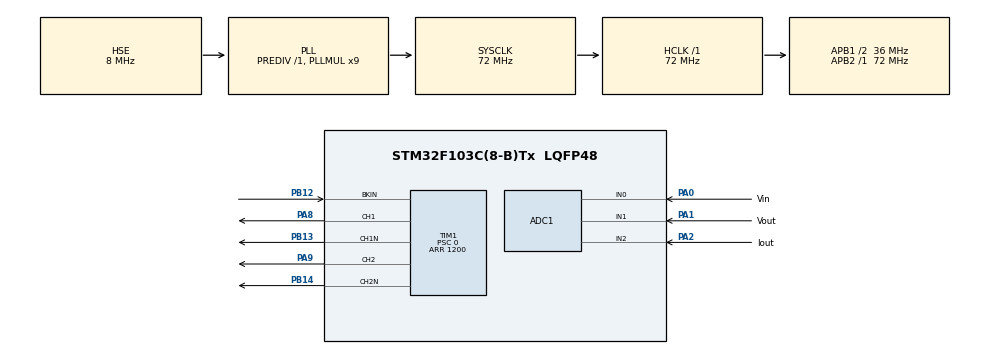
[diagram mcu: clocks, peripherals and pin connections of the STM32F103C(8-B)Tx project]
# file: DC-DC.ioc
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ADC1.Channel-0\#ChannelRegularConversion=ADC_CHANNEL_0
ADC1.NbrOfConversionFlag=1
ADC1.Rank-0\#ChannelRegularConversion=1
ADC1.SamplingTime-0\#ChannelRegularConversion=ADC_SAMPLETIME_1CYCLE_5
ADC1.master=1
Mcu.Family=STM32F1
Mcu.Name=STM32F103C(8-B)Tx
Mcu.Package=LQFP48
NVIC.PriorityGroup=NVIC_PRIORITYGROUP_4
PA0-WKUP.GPIO_Label=Vin
PA0-WKUP.Signal=ADCx_IN0
PA1.GPIO_Label=Vout
PA1.Signal=ADCx_IN1
PA13.Mode=Serial_Wire
PA13.Signal=SYS_JTMS-SWDIO
PA14.Mode=Serial_Wire
PA14.Signal=SYS_JTCK-SWCLK
PA2.GPIO_Label=Iout
PA2.Signal=ADCx_IN2
PA8.Signal=S_TIM1_CH1
PA9.Signal=S_TIM1_CH2
PB12.Mode=Activate-Break-Input
PB12.Signal=TIM1_BKIN
PB13.Mode=PWM Generation1 CH1 CH1N
PB13.Signal=TIM1_CH1N
PB14.Mode=PWM Generation2 CH2 CH2N
PB14.Signal=TIM1_CH2N
PD0-OSC_IN.Mode=HSE-External-Oscillator
PD0-OSC_IN.Signal=RCC_OSC_IN
PD1-OSC_OUT.Mode=HSE-External-Oscillator
PD1-OSC_OUT.Signal=RCC_OSC_OUT
ProjectManager.HeapSize=0x200
ProjectManager.StackSize=0x400
ProjectManager.TargetToolchain=STM32CubeIDE
RCC.ADCPresc=RCC_ADCPCLK2_DIV6
RCC.AHBFreq_Value=72000000
RCC.APB1CLKDivider=RCC_HCLK_DIV2
RCC.APB1Freq_Value=36000000
RCC.APB1TimFreq_Value=72000000
RCC.APB2Freq_Value=72000000
RCC.APB2TimFreq_Value=72000000
RCC.HCLKFreq_Value=72000000
RCC.PLLMUL=RCC_PLL_MUL9
RCC.PLLSourceVirtual=RCC_PLLSOURCE_HSE
RCC.SYSCLKFreq_VALUE=72000000
RCC.SYSCLKSource=RCC_SYSCLKSOURCE_PLLCLK
RCC.USBFreq_Value=72000000
SH.ADCx_IN0.0=ADC1_IN0,IN0
SH.ADCx_IN1.0=ADC1_IN1,IN1
SH.ADCx_IN2.0=ADC1_IN2,IN2
SH.S_TIM1_CH1.0=TIM1_CH1,PWM Generation1 CH1 CH1N
SH.S_TIM1_CH2.0=TIM1_CH2,PWM Generation2 CH2 CH2N
TIM1.AutoReloadPreload=TIM_AUTORELOAD_PRELOAD_ENABLE
TIM1.BreakState=TIM_BREAK_DISABLE
TIM1.Channel-PWM\ Generation1\ CH1\ CH1N=TIM_CHANNEL_1
TIM1.Channel-PWM\ Generation2\ CH2\ CH2N=TIM_CHANNEL_2
TIM1.CounterMode=TIM_COUNTERMODE_CENTERALIGNED1
TIM1.DeadTime=30
TIM1.OC2Preload_PWM=ENABLE
TIM1.OCIdleState_2=TIM_OCIDLESTATE_RESET
TIM1.OCMode_PWM-PWM\ Generation1\ CH1\ CH1N=TIM_OCMODE_PWM1
TIM1.OCMode_PWM-PWM\ Generation2\ CH2\ CH2N=TIM_OCMODE_PWM1
TIM1.OCNPolarity_1=TIM_OCNPOLARITY_HIGH
TIM1.OCNPolarity_2=TIM_OCNPOLARITY_HIGH
TIM1.OCPolarity_1=TIM_OCPOLARITY_HIGH
TIM1.OCPolarity_2=TIM_OCPOLARITY_HIGH
TIM1.Period=1200
TIM1.Prescaler=0
TIM1.Pulse-PWM\ Generation1\ CH1\ CH1N=1100
TIM1.Pulse-PWM\ Generation2\ CH2\ CH2N=100
TIM1.TIM_MasterOutputTrigger=TIM_TRGO_RESET
VP_TIM1_VS_ClockSourceINT.Mode=Internal
board=custom

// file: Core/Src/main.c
/* USER CODE BEGIN Header */
/**
  ******************************************************************************
  * @file           : main.c
  * @brief          : Main program body
  ******************************************************************************
  * @attention
  *
  * Copyright (c) 2024 STMicroelectronics.
  * All rights reserved.
  *
  * This software is licensed under terms that can be found in the LICENSE file
  * in the root directory of this software component.
  * If no LICENSE file comes with this software, it is provided AS-IS.
  *
  ******************************************************************************
  */
/* USER CODE END Header */
#include "main.h"

/* USER CODE BEGIN PM */
void duty_update (float duty);

/* USER CODE END PM */

ADC_HandleTypeDef hadc1;

TIM_HandleTypeDef htim1;

/* USER CODE BEGIN PV */
float duty=20,i=0;
/* USER CODE END PV */

void SystemClock_Config(void);
static void MX_GPIO_Init(void);
static void MX_TIM1_Init(void);
static void MX_ADC1_Init(void);

int main(void)
{

  /* MCU Configuration--------------------------------------------------------*/

  /* Reset of all peripherals, Initializes the Flash interface and the Systick. */
  HAL_Init();

  /* Configure the system clock */
  SystemClock_Config();

  /* Initialize all configured peripherals */
  MX_GPIO_Init();
  MX_TIM1_Init();
  MX_ADC1_Init();
  /* USER CODE BEGIN 2 */
  HAL_TIM_PWM_Start(&htim1, TIM_CHANNEL_1);
  HAL_TIMEx_PWMN_Start(&htim1, TIM_CHANNEL_1);
  HAL_TIM_PWM_Start(&htim1, TIM_CHANNEL_2);
  HAL_TIMEx_PWMN_Start(&htim1, TIM_CHANNEL_2);

  /* USER CODE END 2 */

  /* Infinite loop */
  /* USER CODE BEGIN WHILE */
  while (1)
  {
	  for(i=5.3;i<25;i=i+0.1)
	  {
		  duty_update(i);
		  HAL_Delay(5);
	  }

    /* USER CODE END WHILE */

  }
}

void SystemClock_Config(void)
{
  RCC_OscInitTypeDef RCC_OscInitStruct = {0};
  RCC_ClkInitTypeDef RCC_ClkInitStruct = {0};
  RCC_PeriphCLKInitTypeDef PeriphClkInit = {0};

  /** Initializes the RCC Oscillators according to the specified parameters
  * in the RCC_OscInitTypeDef structure.
  */
  RCC_OscInitStruct.OscillatorType = RCC_OSCILLATORTYPE_HSE;
  RCC_OscInitStruct.HSEState = RCC_HSE_ON;
  RCC_OscInitStruct.HSEPredivValue = RCC_HSE_PREDIV_DIV1;
  RCC_OscInitStruct.HSIState = RCC_HSI_ON;
  RCC_OscInitStruct.PLL.PLLState = RCC_PLL_ON;
  RCC_OscInitStruct.PLL.PLLSource = RCC_PLLSOURCE_HSE;
  RCC_OscInitStruct.PLL.PLLMUL = RCC_PLL_MUL9;
  if (HAL_RCC_OscConfig(&RCC_OscInitStruct) != HAL_OK)
  {
    Error_Handler();
  }

  /** Initializes the CPU, AHB and APB buses clocks
  */
  RCC_ClkInitStruct.ClockType = RCC_CLOCKTYPE_HCLK|RCC_CLOCKTYPE_SYSCLK
                              |RCC_CLOCKTYPE_PCLK1|RCC_CLOCKTYPE_PCLK2;
  RCC_ClkInitStruct.SYSCLKSource = RCC_SYSCLKSOURCE_PLLCLK;
  RCC_ClkInitStruct.AHBCLKDivider = RCC_SYSCLK_DIV1;
  RCC_ClkInitStruct.APB1CLKDivider = RCC_HCLK_DIV2;
  RCC_ClkInitStruct.APB2CLKDivider = RCC_HCLK_DIV1;

  if (HAL_RCC_ClockConfig(&RCC_ClkInitStruct, FLASH_LATENCY_2) != HAL_OK)
  {
    Error_Handler();
  }
  PeriphClkInit.PeriphClockSelection = RCC_PERIPHCLK_ADC;
  PeriphClkInit.AdcClockSelection = RCC_ADCPCLK2_DIV6;
  if (HAL_RCCEx_PeriphCLKConfig(&PeriphClkInit) != HAL_OK)
  {
    Error_Handler();
  }
}

static void MX_ADC1_Init(void)
{

  ADC_ChannelConfTypeDef sConfig = {0};

  /** Common config
  */
  hadc1.Instance = ADC1;
  hadc1.Init.ScanConvMode = ADC_SCAN_DISABLE;
  hadc1.Init.ContinuousConvMode = DISABLE;
  hadc1.Init.DiscontinuousConvMode = DISABLE;
  hadc1.Init.ExternalTrigConv = ADC_SOFTWARE_START;
  hadc1.Init.DataAlign = ADC_DATAALIGN_RIGHT;
  hadc1.Init.NbrOfConversion = 1;
  if (HAL_ADC_Init(&hadc1) != HAL_OK)
  {
    Error_Handler();
  }

  /** Configure Regular Channel
  */
  sConfig.Channel = ADC_CHANNEL_0;
  sConfig.Rank = ADC_REGULAR_RANK_1;
  sConfig.SamplingTime = ADC_SAMPLETIME_1CYCLE_5;
  if (HAL_ADC_ConfigChannel(&hadc1, &sConfig) != HAL_OK)
  {
    Error_Handler();
  }

}

static void MX_TIM1_Init(void)
{

  TIM_ClockConfigTypeDef sClockSourceConfig = {0};
  TIM_MasterConfigTypeDef sMasterConfig = {0};
  TIM_OC_InitTypeDef sConfigOC = {0};
  TIM_BreakDeadTimeConfigTypeDef sBreakDeadTimeConfig = {0};

  htim1.Instance = TIM1;
  htim1.Init.Prescaler = 0;
  htim1.Init.CounterMode = TIM_COUNTERMODE_CENTERALIGNED1;
  htim1.Init.Period = 1200;
  htim1.Init.ClockDivision = TIM_CLOCKDIVISION_DIV1;
  htim1.Init.RepetitionCounter = 0;
  htim1.Init.AutoReloadPreload = TIM_AUTORELOAD_PRELOAD_ENABLE;
  if (HAL_TIM_Base_Init(&htim1) != HAL_OK)
  {
    Error_Handler();
  }
  sClockSourceConfig.ClockSource = TIM_CLOCKSOURCE_INTERNAL;
  if (HAL_TIM_ConfigClockSource(&htim1, &sClockSourceConfig) != HAL_OK)
  {
    Error_Handler();
  }
  if (HAL_TIM_PWM_Init(&htim1) != HAL_OK)
  {
    Error_Handler();
  }
  sMasterConfig.MasterOutputTrigger = TIM_TRGO_RESET;
  sMasterConfig.MasterSlaveMode = TIM_MASTERSLAVEMODE_DISABLE;
  if (HAL_TIMEx_MasterConfigSynchronization(&htim1, &sMasterConfig) != HAL_OK)
  {
    Error_Handler();
  }
  sConfigOC.OCMode = TIM_OCMODE_PWM1;
  sConfigOC.Pulse = 1100;
  sConfigOC.OCPolarity = TIM_OCPOLARITY_HIGH;
  sConfigOC.OCNPolarity = TIM_OCNPOLARITY_HIGH;
  sConfigOC.OCFastMode = TIM_OCFAST_DISABLE;
  sConfigOC.OCIdleState = TIM_OCIDLESTATE_RESET;
  sConfigOC.OCNIdleState = TIM_OCNIDLESTATE_RESET;
  if (HAL_TIM_PWM_ConfigChannel(&htim1, &sConfigOC, TIM_CHANNEL_1) != HAL_OK)
  {
    Error_Handler();
  }
  sConfigOC.Pulse = 100;
  if (HAL_TIM_PWM_ConfigChannel(&htim1, &sConfigOC, TIM_CHANNEL_2) != HAL_OK)
  {
    Error_Handler();
  }
  sBreakDeadTimeConfig.OffStateRunMode = TIM_OSSR_DISABLE;
  sBreakDeadTimeConfig.OffStateIDLEMode = TIM_OSSI_DISABLE;
  sBreakDeadTimeConfig.LockLevel = TIM_LOCKLEVEL_OFF;
  sBreakDeadTimeConfig.DeadTime = 30;
  sBreakDeadTimeConfig.BreakState = TIM_BREAK_DISABLE;
  sBreakDeadTimeConfig.BreakPolarity = TIM_BREAKPOLARITY_HIGH;
  sBreakDeadTimeConfig.AutomaticOutput = TIM_AUTOMATICOUTPUT_DISABLE;
  if (HAL_TIMEx_ConfigBreakDeadTime(&htim1, &sBreakDeadTimeConfig) != HAL_OK)
  {
    Error_Handler();
  }
  HAL_TIM_MspPostInit(&htim1);

}

static void MX_GPIO_Init(void)
{

  /* GPIO Ports Clock Enable */
  __HAL_RCC_GPIOD_CLK_ENABLE();
  __HAL_RCC_GPIOA_CLK_ENABLE();
  __HAL_RCC_GPIOB_CLK_ENABLE();

}

/* USER CODE BEGIN 4 */
 void duty_update (float duty)
 {
	 if(duty>25)
	 {
		duty=25;
	 }
	 if(duty<5.3)
	 {
		duty=5.3;
	 }
	 uint16_t max_duty = htim1.Init.Period;
	 float k =(duty/100) * max_duty;
	 uint16_t n = (uint16_t) k;

	 TIM1->CCR1 = max_duty - n;
	 TIM1->CCR2 = n;
 }

/* USER CODE END 4 */

void Error_Handler(void)
{
  __disable_irq();
  while (1)
  {
  }
}
